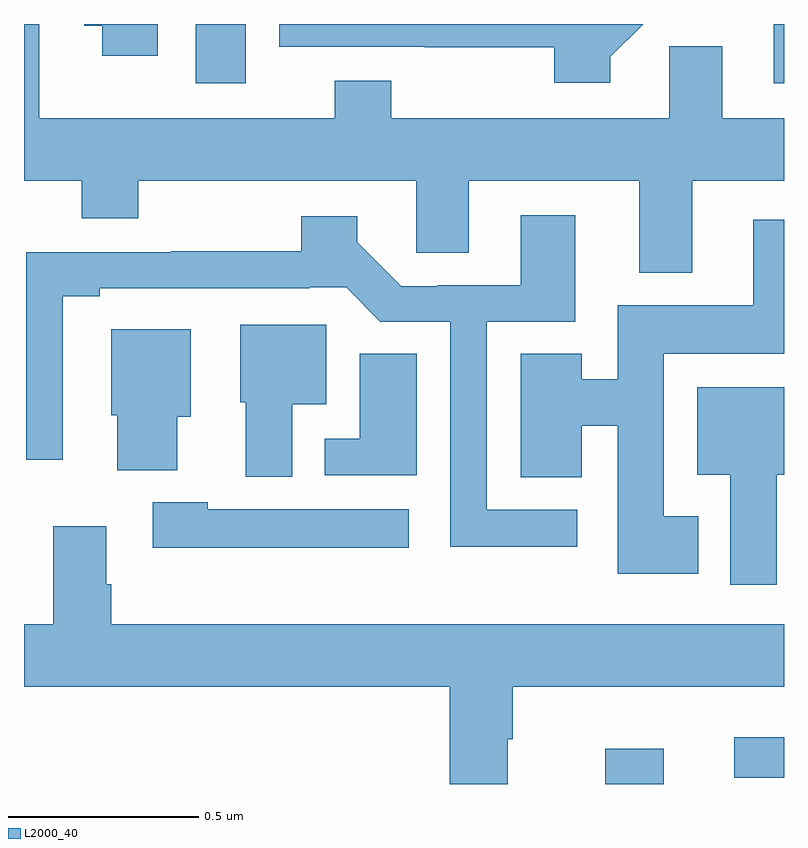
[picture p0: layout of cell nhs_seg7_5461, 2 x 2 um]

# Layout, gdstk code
import gdstk
lib = gdstk.Library(unit=1e-6, precision=1e-09)
def R(c, l, rs):  # rectangles x0, y0, x1, y1
    for r in rs: c.add(gdstk.rectangle(r[:2], r[2:], *l))
def P(c, l, *ps):  # polygons
    for p in ps: c.add(gdstk.Polygon(p, *l))
L2000_40 = (2000, 40)

nhs_seg7_5461 = lib.new_cell('nhs_seg7_5461')
R(nhs_seg7_5461, L2000_40, [(187.529,1027,187.684,1027.093), (187.869,1027.016,188,1027.123), (186.452,1028.844,186.583,1029), (187.973,1028.844,188,1029)])
P(nhs_seg7_5461, L2000_40, [(187.759,1028.588),(188,1028.588),(188,1028.752),(187.837,1028.752),(187.837,1028.942),(187.698,1028.942),(187.698,1028.752),(186.966,1028.752),(186.966,1028.851),(186.818,1028.851),(186.818,1028.752),(186.04,1028.752),(186.04,1029),(186,1029),(186,1028.588),(186.152,1028.588),(186.152,1028.489),(186.3,1028.489),(186.3,1028.588),(187.032,1028.588),(187.032,1028.398),(187.171,1028.398),(187.171,1028.588),(187.619,1028.588),(187.619,1028.345),(187.759,1028.345)],
  [(187.543,1028.914),(187.629,1029),(186.672,1029),(186.672,1028.94),(187.054,1028.94),(187.054,1028.939),(187.396,1028.939),(187.396,1028.846),(187.543,1028.846)],
  [(186.352,1029),(186.158,1029),(186.158,1028.996),(186.206,1028.996),(186.206,1028.916),(186.352,1028.916)],
  [(187.456,1027.722),(187.218,1027.722),(187.218,1028.217),(187.45,1028.217),(187.45,1028.497),(187.307,1028.497),(187.307,1028.313),(187.087,1028.313),(187.087,1028.31),(186.993,1028.31),(186.877,1028.426),(186.877,1028.494),(186.73,1028.494),(186.73,1028.402),(186.388,1028.402),(186.388,1028.4),(186.006,1028.4),(186.006,1027.853),(186.102,1027.853),(186.102,1028.284),(186.199,1028.284),(186.199,1028.304),(186.752,1028.304),(186.752,1028.307),(186.848,1028.307),(186.938,1028.217),(187.122,1028.217),(187.122,1027.625),(187.456,1027.625)],
  [(187.774,1027.705),(187.684,1027.705),(187.684,1028.132),(188,1028.132),(188,1028.485),(187.919,1028.485),(187.919,1028.26),(187.562,1028.26),(187.562,1028.065),(187.468,1028.065),(187.468,1028.132),(187.307,1028.132),(187.307,1027.807),(187.468,1027.807),(187.468,1027.943),(187.562,1027.943),(187.562,1027.553),(187.774,1027.553)],
  [(186.706,1028),(186.796,1028),(186.796,1028.209),(186.569,1028.209),(186.569,1028.004),(186.584,1028.004),(186.584,1027.808),(186.706,1027.808)],
  [(186.403,1027.967),(186.439,1027.967),(186.439,1028.197),(186.23,1028.197),(186.23,1027.971),(186.245,1027.971),(186.245,1027.826),(186.403,1027.826)],
  [(187.033,1028.132),(186.884,1028.132),(186.884,1027.908),(186.791,1027.908),(186.791,1027.812),(187.033,1027.812)],
  [(187.981,1027.814),(188,1027.814),(188,1028.044),(187.772,1028.044),(187.772,1027.814),(187.859,1027.814),(187.859,1027.524),(187.981,1027.524)],
  [(187.012,1027.723),(186.483,1027.723),(186.483,1027.741),(186.339,1027.741),(186.339,1027.622),(187.012,1027.622)],
  [(187.273,1027.118),(187.286,1027.118),(187.286,1027.256),(188,1027.256),(188,1027.42),(186.23,1027.42),(186.23,1027.526),(186.217,1027.526),(186.217,1027.678),(186.077,1027.678),(186.077,1027.42),(186,1027.42),(186,1027.256),(187.121,1027.256),(187.121,1027),(187.273,1027)])

lib.write_gds('nhs_seg7_5461.gds')
